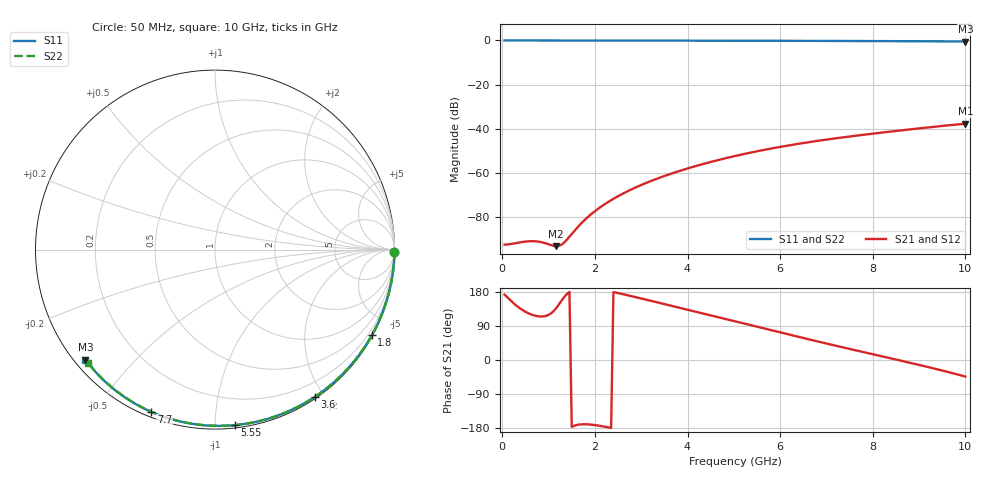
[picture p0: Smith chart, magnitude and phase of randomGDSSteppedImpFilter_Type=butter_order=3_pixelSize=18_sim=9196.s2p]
! freq	dB(S11)	phase(S11)	dB(S12)	phase(S12)
!  dB(S21)	phase(S21)	dB(S22)	phase(S22)
!S-par simulation data
#  GHz  S  DB  R 50
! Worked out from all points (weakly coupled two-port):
!   200 points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, 50 MHz to 10 GHz, reference 50 ohm
!   highest |S21| = -37.67 dB at 10 GHz (marker M1); lowest = -93.1 dB at 1.15 GHz (marker M2)
!   lowest |S11| = -0.5 dB at 10 GHz (marker M3), VSWR 36.72, Z = 1.55 - j18.4 ohm
!   |S11| at or under -10 dB: nowhere
!   |S22| runs from -0.5 to 0.0 dB; largest |S21 - S12| = 0
!   S11 on the Smith chart (normalised r, x): 50 MHz: open; 1.8 GHz: 0.03, -3.91; 3.6 GHz: 0.02, -1.88; 5.55 GHz: 0.02, -1.12; 7.7 GHz: 0.02, -0.68; 10 GHz: 0.03, -0.37
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0.05  -0.00 -0.8  -92.40 172.3  -92.40 172.3  -0.00 -0.8
0.6  -0.01 -9.7  -90.82 121.4  -90.82 121.4  -0.01 -9.6
1.15  -0.02 -18.4  -93.07 134.7  -93.07 134.7  -0.02 -18.3
1.75  -0.04 -27.9  -81.79 -169.5  -81.79 -169.5  -0.04 -27.6
1.8  -0.04 -28.7  -80.79 -169.5  -80.79 -169.5  -0.04 -28.4
1.85  -0.04 -29.5  -79.85 -169.8  -79.85 -169.8  -0.04 -29.1
2  -0.04 -31.8  -77.25 -171.6  -77.25 -171.6  -0.04 -31.4
2.15  -0.04 -34.1  -74.94 -174.6  -74.94 -174.6  -0.04 -33.7
2.35  -0.05 -37.2  -72.25 -179.4  -72.25 -179.4  -0.05 -36.8
2.55  -0.05 -40.3  -69.88 175.2  -69.88 175.2  -0.05 -39.8
2.95  -0.06 -46.3  -65.84 163.8  -65.84 163.8  -0.06 -45.8
3.4  -0.07 -53.0  -62.07 150.5  -62.07 150.5  -0.07 -52.5
3.6  -0.08 -56.0  -60.59 144.6  -60.59 144.6  -0.07 -55.4
4.3  -0.09 -66.1  -56.10 123.7  -56.10 123.7  -0.09 -65.4
5.05  -0.12 -76.7  -52.16 101.3  -52.16 101.3  -0.12 -75.9
5.55  -0.14 -83.5  -49.93 86.3  -49.93 86.3  -0.14 -82.7
6.1  -0.16 -90.8  -47.79 69.8  -47.79 69.8  -0.16 -90.0
6.7  -0.19 -98.7  -45.76 52.2  -45.76 52.2  -0.19 -97.7
7.7  -0.25 -111.4  -42.92 23.6  -42.92 23.6  -0.25 -110.3
8.35  -0.30 -119.5  -41.31 5.4  -41.31 5.4  -0.31 -118.3
9.2  -0.38 -129.9  -39.33 -18.8  -39.33 -18.8  -0.38 -128.7
10  -0.47 -139.6  -37.67 -43.7  -37.67 -43.7  -0.47 -138.3
